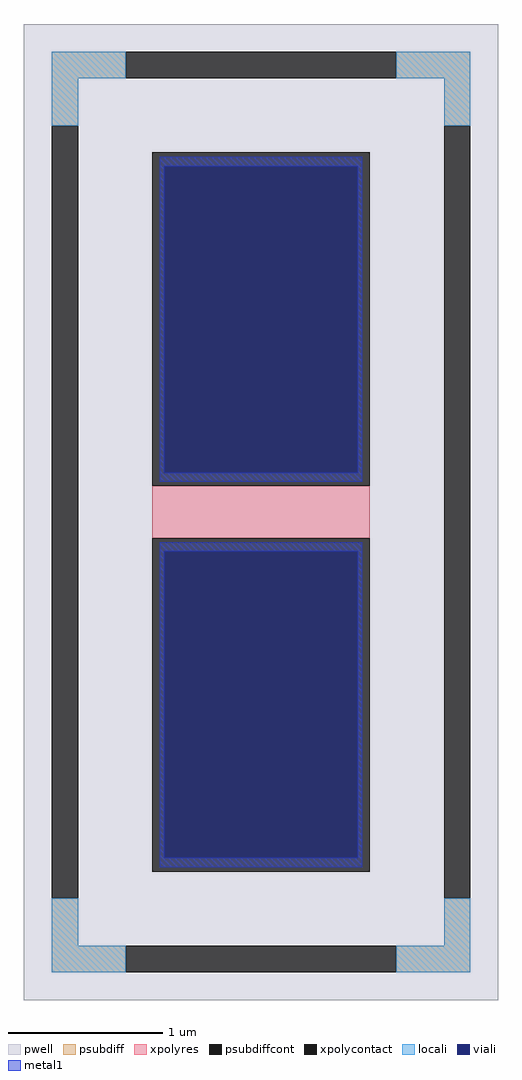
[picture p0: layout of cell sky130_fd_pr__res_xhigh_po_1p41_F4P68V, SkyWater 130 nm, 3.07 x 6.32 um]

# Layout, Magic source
magic
tech sky130A
magscale 1 2
<< pwell >>
rect -307 -632 307 632
<< psubdiff >>
rect -271 562 -175 596
rect 175 562 271 596
rect -271 500 -237 562
rect 237 500 271 562
rect -271 -562 -237 -500
rect 237 -562 271 -500
rect -271 -596 -175 -562
rect 175 -596 271 -562
<< psubdiffcont >>
rect -175 562 175 596
rect -271 -500 -237 500
rect 237 -500 271 500
rect -175 -596 175 -562
<< xpolycontact >>
rect -141 34 141 466
rect -141 -466 141 -34
<< xpolyres >>
rect -141 -34 141 34
<< locali >>
rect -271 562 -175 596
rect 175 562 271 596
rect -271 500 -237 562
rect 237 500 271 562
rect -271 -562 -237 -500
rect 237 -562 271 -500
rect -271 -596 -175 -562
rect 175 -596 271 -562
<< viali >>
rect -125 51 125 448
rect -125 -448 125 -51
<< metal1 >>
rect -131 448 131 460
rect -131 51 -125 448
rect 125 51 131 448
rect -131 39 131 51
rect -131 -51 131 -39
rect -131 -448 -125 -51
rect 125 -448 131 -51
rect -131 -460 131 -448
<< properties >>
string FIXED_BBOX -254 -579 254 579
string gencell sky130_fd_pr__res_xhigh_po_1p41
string library sky130
string parameters w 1.410 l 0.50 m 1 nx 1 wmin 1.410 lmin 0.50 rho 2000 val 976.17 dummy 0 dw 0.0 term 188.2 sterm 0.0 caplen 0 wmax 1.410 guard 1 glc 1 grc 1 gtc 1 gbc 1 compatible {sky130_fd_pr__res_xhigh_po_0p35  sky130_fd_pr__res_xhigh_po_0p69 sky130_fd_pr__res_xhigh_po_1p41  sky130_fd_pr__res_xhigh_po_2p85 sky130_fd_pr__res_xhigh_po_5p73} snake 0 full_metal 1 n_guard 0 hv_guard 0 vias 1 viagb 0 viagt 0 viagl 0 viagr 0
<< end >>
